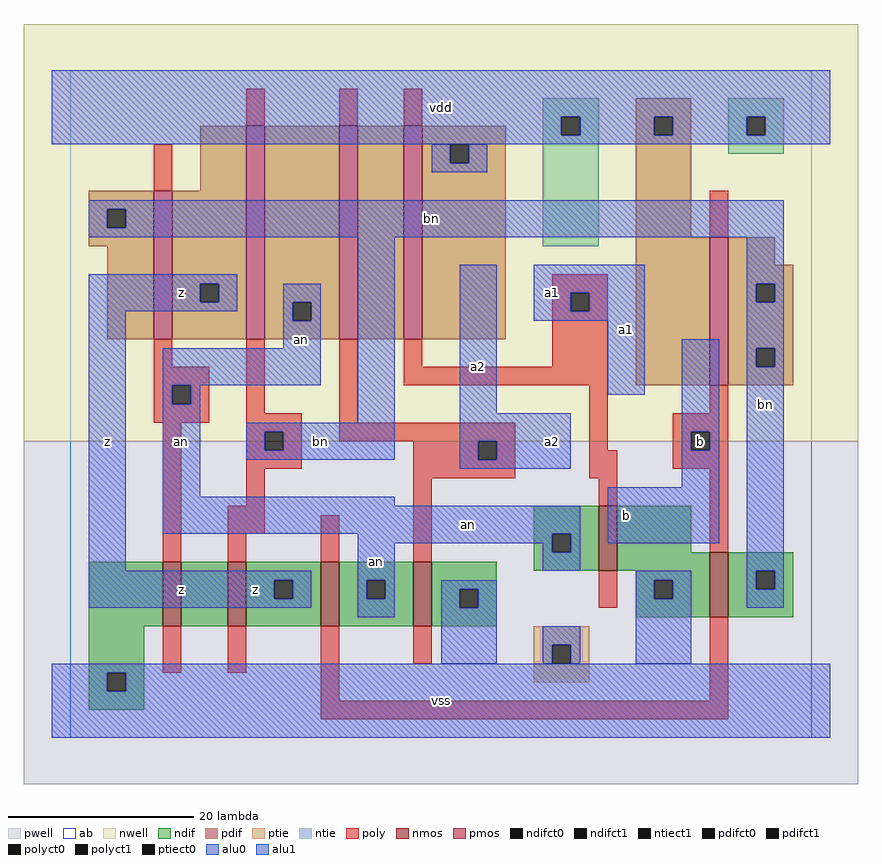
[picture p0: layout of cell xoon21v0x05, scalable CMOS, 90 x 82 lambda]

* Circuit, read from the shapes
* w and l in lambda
.subckt xoon21v0x05 a1 a2 an b bn vdd vss z
M1 n1 an vss vss nfet w=7 l=2
M2 z bn n1 vss nfet w=7 l=2
M3 an b z vss nfet w=7 l=2
M4 vss a2 an vss nfet w=7 l=2
M5 vss a1 an vss nfet w=7 l=2
M6 bn b vss vss nfet w=7 l=2
M7 z an bn vdd pfet w=16 l=2
M8 an bn z vdd pfet w=23 l=2
M9 n2 a2 an vdd pfet w=23 l=2
M10 vdd a1 n2 vdd pfet w=23 l=2
M11 bn b vdd vdd pfet w=16 l=2
.ends

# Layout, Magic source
magic
tech scmos
<< ab >>
rect 0 0 80 72
<< nwell >>
rect -5 32 85 77
<< pwell >>
rect -5 -5 85 32
<< poly >>
rect 19 66 21 70
rect 29 66 31 70
rect 36 66 38 70
rect 9 59 11 64
rect 69 54 71 59
rect 52 48 58 50
rect 52 46 54 48
rect 56 46 58 48
rect 9 40 11 43
rect 9 38 15 40
rect 9 36 11 38
rect 13 36 15 38
rect 9 34 15 36
rect 19 35 21 43
rect 10 19 12 34
rect 19 33 25 35
rect 19 31 21 33
rect 23 31 25 33
rect 29 34 31 43
rect 36 40 38 43
rect 52 40 58 46
rect 36 38 58 40
rect 29 32 48 34
rect 19 29 25 31
rect 37 30 44 32
rect 46 30 48 32
rect 19 25 21 29
rect 17 22 21 25
rect 37 28 48 30
rect 56 31 58 38
rect 69 35 71 38
rect 65 33 71 35
rect 65 31 67 33
rect 69 31 71 33
rect 56 28 59 31
rect 65 29 71 31
rect 17 19 19 22
rect 27 19 29 24
rect 37 19 39 28
rect 57 25 59 28
rect 69 20 71 29
rect 57 14 59 18
rect 10 7 12 12
rect 17 7 19 12
rect 27 4 29 12
rect 37 8 39 12
rect 69 4 71 13
rect 27 2 71 4
<< ndif >>
rect 50 22 57 25
rect 50 20 52 22
rect 54 20 57 22
rect 2 12 10 19
rect 12 12 17 19
rect 19 17 27 19
rect 19 15 22 17
rect 24 15 27 17
rect 19 12 27 15
rect 29 17 37 19
rect 29 15 32 17
rect 34 15 37 17
rect 29 12 37 15
rect 39 16 46 19
rect 50 18 57 20
rect 59 20 67 25
rect 59 18 69 20
rect 39 14 42 16
rect 44 14 46 16
rect 61 17 69 18
rect 61 15 63 17
rect 65 15 69 17
rect 39 12 46 14
rect 61 13 69 15
rect 71 18 78 20
rect 71 16 74 18
rect 76 16 78 18
rect 71 13 78 16
rect 2 7 8 12
rect 2 5 4 7
rect 6 5 8 7
rect 2 3 8 5
<< pdif >>
rect 14 59 19 66
rect 2 57 9 59
rect 2 55 4 57
rect 6 55 9 57
rect 2 53 9 55
rect 4 43 9 53
rect 11 49 19 59
rect 11 47 14 49
rect 16 47 19 49
rect 11 43 19 47
rect 21 47 29 66
rect 21 45 24 47
rect 26 45 29 47
rect 21 43 29 45
rect 31 43 36 66
rect 38 64 47 66
rect 38 62 41 64
rect 43 62 47 64
rect 38 43 47 62
rect 61 67 67 69
rect 61 65 63 67
rect 65 65 67 67
rect 61 54 67 65
rect 61 38 69 54
rect 71 51 76 54
rect 71 49 78 51
rect 71 47 74 49
rect 76 47 78 49
rect 71 42 78 47
rect 71 40 74 42
rect 76 40 78 42
rect 71 38 78 40
<< alu1 >>
rect -2 67 82 72
rect -2 65 53 67
rect 55 65 63 67
rect 65 65 73 67
rect 75 65 82 67
rect -2 64 82 65
rect 2 49 18 50
rect 2 47 14 49
rect 16 47 18 49
rect 2 46 18 47
rect 2 18 6 46
rect 42 35 46 51
rect 50 48 62 51
rect 50 46 54 48
rect 56 46 62 48
rect 50 45 62 46
rect 58 37 62 45
rect 42 32 54 35
rect 42 30 44 32
rect 46 30 54 32
rect 42 29 54 30
rect 66 33 70 43
rect 66 31 67 33
rect 69 31 70 33
rect 66 27 70 31
rect 2 17 26 18
rect 2 15 22 17
rect 24 15 26 17
rect 2 14 26 15
rect 58 21 70 27
rect -2 7 82 8
rect -2 5 4 7
rect 6 5 82 7
rect -2 0 82 5
<< ptie >>
rect 50 10 56 12
rect 50 8 52 10
rect 54 8 56 10
rect 50 6 56 8
<< ntie >>
rect 51 67 57 69
rect 51 65 53 67
rect 55 65 57 67
rect 51 53 57 65
rect 71 67 77 69
rect 71 65 73 67
rect 75 65 77 67
rect 71 63 77 65
<< nmos >>
rect 10 12 12 19
rect 17 12 19 19
rect 27 12 29 19
rect 37 12 39 19
rect 57 18 59 25
rect 69 13 71 20
<< pmos >>
rect 9 43 11 59
rect 19 43 21 66
rect 29 43 31 66
rect 36 43 38 66
rect 69 38 71 54
<< polyct0 >>
rect 11 36 13 38
rect 21 31 23 33
<< polyct1 >>
rect 54 46 56 48
rect 44 30 46 32
rect 67 31 69 33
<< ndifct0 >>
rect 52 20 54 22
rect 32 15 34 17
rect 42 14 44 16
rect 63 15 65 17
rect 74 16 76 18
<< ndifct1 >>
rect 22 15 24 17
rect 4 5 6 7
<< ntiect1 >>
rect 53 65 55 67
rect 73 65 75 67
<< ptiect0 >>
rect 52 8 54 10
<< pdifct0 >>
rect 4 55 6 57
rect 24 45 26 47
rect 41 62 43 64
rect 74 47 76 49
rect 74 40 76 42
<< pdifct1 >>
rect 14 47 16 49
rect 63 65 65 67
<< alu0 >>
rect 39 62 41 64
rect 43 62 45 64
rect 39 61 45 62
rect 2 57 77 58
rect 2 55 4 57
rect 6 55 77 57
rect 2 54 77 55
rect 23 47 27 49
rect 23 45 24 47
rect 26 45 27 47
rect 23 42 27 45
rect 10 38 27 42
rect 10 36 11 38
rect 13 36 14 38
rect 10 26 14 36
rect 31 34 35 54
rect 19 33 35 34
rect 19 31 21 33
rect 23 31 35 33
rect 19 30 35 31
rect 73 49 77 54
rect 73 47 74 49
rect 76 47 77 49
rect 10 25 35 26
rect 10 22 55 25
rect 31 21 52 22
rect 31 17 35 21
rect 51 20 52 21
rect 54 20 55 22
rect 73 42 77 47
rect 73 40 74 42
rect 76 40 77 42
rect 51 18 55 20
rect 73 18 77 40
rect 61 17 67 18
rect 31 15 32 17
rect 34 15 35 17
rect 31 13 35 15
rect 40 16 46 17
rect 40 14 42 16
rect 44 14 46 16
rect 40 8 46 14
rect 61 15 63 17
rect 65 15 67 17
rect 51 10 55 12
rect 51 8 52 10
rect 54 8 55 10
rect 61 8 67 15
rect 73 16 74 18
rect 76 16 77 18
rect 73 14 77 16
<< labels >>
rlabel alu0 12 32 12 32 6 an
rlabel alu0 33 19 33 19 6 an
rlabel alu0 27 32 27 32 6 bn
rlabel alu0 25 43 25 43 6 an
rlabel alu0 43 23 43 23 6 an
rlabel alu0 39 56 39 56 6 bn
rlabel alu0 75 36 75 36 6 bn
rlabel alu1 12 16 12 16 6 z
rlabel alu1 4 32 4 32 6 z
rlabel alu1 12 48 12 48 6 z
rlabel alu1 20 16 20 16 6 z
rlabel alu1 40 4 40 4 6 vss
rlabel alu1 52 32 52 32 6 a2
rlabel alu1 44 40 44 40 6 a2
rlabel alu1 52 48 52 48 6 a1
rlabel alu1 40 68 40 68 6 vdd
rlabel alu1 60 24 60 24 6 b
rlabel polyct1 68 32 68 32 6 b
rlabel alu1 60 44 60 44 6 a1
<< end >>
